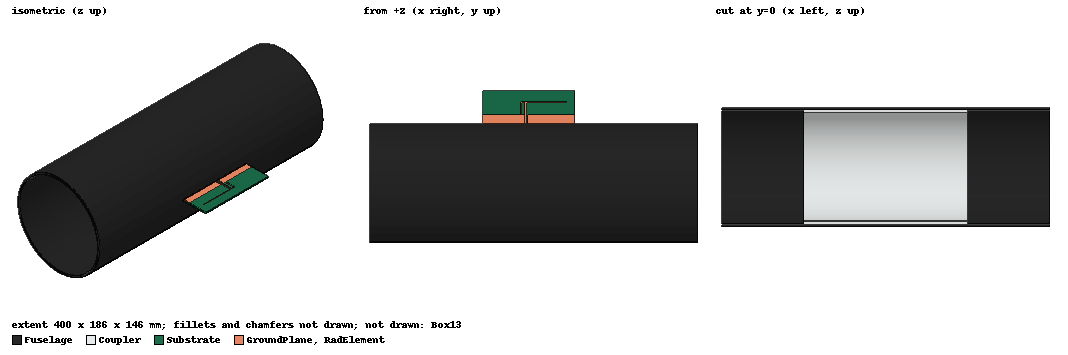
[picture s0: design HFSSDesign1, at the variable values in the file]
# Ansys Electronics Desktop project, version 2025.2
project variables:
  $Radius = 73mm  # optimise 36.5mm..109.5mm
  $StubLen = 15mm  # optimise 7.5mm..22.5mm
  $RadLen = 56mm  # optimise 27.5mm..82.5mm
  $FeedGap = 5.5mm  # optimise 2.5mm..7.5mm
  $PlaneWidth = 10mm  # optimise 5mm..15mm
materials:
  vacuum: permittivity=1
  copper: permeability=0.999991 conductivity=58000000
  air: permittivity=1.0006 permeability=1.0000004
  graphite: conductivity=70000
  FR4_epoxy: permittivity=4.4 dielectric_loss_tangent=0.02
  cast_iron: permeability=60 conductivity=1500000
  CF - Carbon fiber: conductivity=252.337
  aluminum: permeability=1.000021 conductivity=38000000

design HFSSDesign1 (HFSS, HFSS Terminal Network, model units mm)
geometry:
  Substrate [FR4_epoxy] = box(corner=(50mm, $Radius, 0.8mm), size=((-4.5*25) mm, 40mm, -1.6mm))
  Fuselage [CF - Carbon fiber] = cylinder(axis=X, base_centre=(-200mm, 0mm, 0mm), radius=73mm, height=400mm, segments=32)
  Cylinder3 = cylinder(axis=X, base_centre=(200mm, 0mm, 0mm), radius=70mm, height=-400mm)
  Fuselage.subtract(Cylinder3)
  Box13 [air] = box(corner=(-250mm, 200mm, 100mm), size=(500mm, -400mm, -200mm))
  Coupler [aluminum] = cylinder(axis=X, base_centre=(-100mm, 0mm, 0mm), radius=70mm, height=200mm, segments=32)
  Cylinder5 = cylinder(axis=X, base_centre=(100mm, 0mm, 0mm), radius=66.5mm, height=-200mm)
  Coupler.subtract(Cylinder5)
  Substrate.chamfer(Edges=Substrate.edge(at (-62.5, 113, 0)) LeftDistance=40mm RightDistance="(2.25*25) mm" ChamferType="Left Distance-Right Distance" ChamferAdditionalGeometryInfo{ChamferEdgeGeometryInfo{ChamferEdgeID=1342 ChamferEdgeSense ChamferEdgeStart{X=-62.5mm Y=113mm Z=0.8mm} ChamferEdgeEnd{X=-62.5mm Y=113mm Z=-0.8mm} ChamferEdgeMid{X=-62.5mm Y=113mm Z=0mm} ChamferEdgeMidTangent(0, 0, -1)}})
  Substrate.chamfer(Edges=Substrate.edge(at (50, 113, 0)) LeftDistance=6.25mm RightDistance=40mm ChamferType="Left Distance-Right Distance" ChamferAdditionalGeometryInfo{ChamferEdgeGeometryInfo{ChamferEdgeID=1343 ChamferEdgeSense ChamferEdgeStart{X=50mm Y=113mm Z=0.8mm} ChamferEdgeEnd{X=50mm Y=113mm Z=-0.8mm} ChamferEdgeMid{X=50mm Y=113mm Z=0mm} ChamferEdgeMidTangent(0, 0, -1)}})
  TopGround = box(corner=(-62.5mm, $Radius, 0.8mm), size=((4.5*25) mm, $PlaneWidth, 0.035mm))
  TopGround.chamfer(Edges=GroundPlane.edge(at (-62.5, 83, 0.8175)) LeftDistance=55deg RightDistance=$PlaneWidth ChamferType="Right Distance-Angle" ChamferAdditionalGeometryInfo{ChamferEdgeGeometryInfo{ChamferEdgeID=2238 ChamferEdgeSense ChamferEdgeStart{X=-62.5mm Y=83mm Z=0.8mm} ChamferEdgeEnd{X=-62.5mm Y=83mm Z=0.835mm} ChamferEdgeMid{X=-62.5mm Y=83mm Z=0.8175mm} ChamferEdgeMidTangent(0, 0, 1)}})
  TopGround.chamfer(Edges=GroundPlane.edge(at (50, 83, 0.8175)) LeftDistance=$PlaneWidth RightDistance=10deg ChamferType="Left Distance-Angle" ChamferAdditionalGeometryInfo{ChamferEdgeGeometryInfo{ChamferEdgeID=2239 ChamferEdgeSense ChamferEdgeStart{X=50mm Y=83mm Z=0.8mm} ChamferEdgeEnd{X=50mm Y=83mm Z=0.835mm} ChamferEdgeMid{X=50mm Y=83mm Z=0.8175mm} ChamferEdgeMidTangent(0, 0, 1)}})
  coordinate_system RelativeCS1 = origin=(-16mm, $Radius+$PlaneWidth, 0.8mm) x=(1mm, 0mm, 0mm) y=(0mm, 1mm, 0mm)
  Box15 = box(corner=(0mm, 0mm, 0mm), size=(1mm, $StubLen, 0.035mm)) in RelativeCS1
  Box16 = box(corner=($FeedGap, $StubLen, 0mm), size=(2mm, -($StubLen+$PlaneWidth), 0.035mm)) in RelativeCS1
  RadElement [copper] = box(corner=(0mm, $StubLen, 0mm), size=($RadLen, 1mm, 0.035mm)) in RelativeCS1
  RadElement.unite(Box16, Box15)
  StripCutTool = box(corner=(4.5mm, 0mm, 0mm), size=(4mm, -10mm, 0.035mm)) in RelativeCS1
  BottomGround = box(corner=(-62.5mm, $Radius, -0.835mm), size=((4.5*25) mm, $PlaneWidth, 0.035mm))
  BottomGround.chamfer(Edges=GroundPlane.edge(at (-62.5, 83, -0.8175)) LeftDistance=55deg RightDistance=$PlaneWidth ChamferType="Right Distance-Angle" ChamferAdditionalGeometryInfo{ChamferEdgeGeometryInfo{ChamferEdgeID=2539 ChamferEdgeSense ChamferEdgeStart{X=-62.5mm Y=83mm Z=-0.835mm} ChamferEdgeEnd{X=-62.5mm Y=83mm Z=-0.8mm} ChamferEdgeMid{X=-62.5mm Y=83mm Z=-0.8175mm} ChamferEdgeMidTangent(0, 0, 1)}})
  BottomGround.chamfer(Edges=GroundPlane.edge(at (50, 83, -0.8175)) LeftDistance=$PlaneWidth RightDistance=10deg ChamferType="Left Distance-Angle" ChamferAdditionalGeometryInfo{ChamferEdgeGeometryInfo{ChamferEdgeID=2540 ChamferEdgeSense ChamferEdgeStart{X=50mm Y=83mm Z=-0.835mm} ChamferEdgeEnd{X=50mm Y=83mm Z=-0.8mm} ChamferEdgeMid{X=50mm Y=83mm Z=-0.8175mm} ChamferEdgeMidTangent(0, 0, 1)}})
  TopGround.subtract(StripCutTool)
  Rectangle2 = rectangle(corner=(5.5mm, -10mm, 0.035mm), z_size=-1.67mm, x_size=2mm) in RelativeCS1
  ViaPrototype [vacuum, non-model] = cylinder(axis=Z, base_centre=(0mm, 0mm, 0mm), radius=0.3mm, height=1.67mm)
  Cylinder7 = cylinder(axis=Z, base_centre=(0mm, 0mm, 0mm), radius=(0.3-0.035) mm, height=1.67mm)
  ViaPrototype.subtract(Cylinder7)
  ViaCutToolLeft = cylinder(axis=Z, base_centre=(-12mm, 82.5mm, -0.835mm), radius=0.3mm, height=1.67mm)
  ViaCutTool_1..ViaCutTool_9 = ViaCutToolLeft.duplicate_along_line(step=(0mm, -0.975mm, 0mm), total=10)
  ViaCutToolLeft.unite(ViaCutTool_1..ViaCutTool_9)
  ViaCutToolRight = cylinder(axis=Z, base_centre=(-7mm, 82.5mm, -0.835mm), radius=0.3mm, height=1.67mm)
  ViaCutTool_10..ViaCutTool_18 = ViaCutToolRight.duplicate_along_line(step=(0mm, -0.975mm, 0mm), total=10)
  ViaCutToolRight.unite(ViaCutTool_10..ViaCutTool_18)
  ViaCutToolLeft_1 = ViaCutToolLeft.copy()
  ViaCutToolRight_1 = ViaCutToolRight.copy()
  BottomGround.subtract(ViaCutToolLeft_1, ViaCutToolRight_1)
  ViaCutToolLeft_2 = ViaCutToolLeft.copy()
  ViaCutToolRight_2 = ViaCutToolRight.copy()
  Substrate.subtract(ViaCutToolLeft_2, ViaCutToolRight_2)
  TopGround.subtract(ViaCutToolLeft, ViaCutToolRight)
  ViaLeft = cylinder(axis=Z, base_centre=(-12mm, 82.5mm, -0.835mm), radius=0.3mm, height=1.67mm)
  Cylinder8 = cylinder(axis=Z, base_centre=(-12mm, 82.5mm, -0.835mm), radius=(0.3-0.035) mm, height=1.67mm)
  ViaLeft.subtract(Cylinder8)
  ViaLeft_1..ViaLeft_8, ViaFenceLeft = ViaLeft.duplicate_along_line(step=(0mm, -0.975mm, 0mm), total=10)
  ViaFenceLeft.unite(ViaLeft, ViaLeft_1..ViaLeft_8)
  ViaLeft1 = cylinder(axis=Z, base_centre=(-7mm, 82.5mm, -0.835mm), radius=0.3mm, height=1.67mm)
  Cylinder9 = cylinder(axis=Z, base_centre=(-7mm, 82.5mm, -0.835mm), radius=(0.3-0.035) mm, height=1.67mm)
  ViaLeft1.subtract(Cylinder9)
  GroundPlane [copper], ViaLeft_9..ViaLeft_16 = ViaLeft1.duplicate_along_line(step=(0mm, -0.975mm, 0mm), total=10)
  GroundPlane.unite(ViaLeft1, ViaLeft_9..ViaLeft_16)
  GroundPlane.unite(ViaFenceLeft, TopGround, BottomGround)
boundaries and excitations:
  Rad1: Radiation Objects=Box13
  RadElement_T1: Terminal port=1 Faces=RadElement.face(at (-9.5, 73, 0.8175)) TerminalResistance=50ohm
  1: Lumped Port Faces=Rectangle2.face LumpedPortType=Terminal Impedance=50ohm
  reference conductors: BottomGround
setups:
  Setup1: HfssDriven Frequency=915MHz MaxDeltaS=0.02 MaximumPasses=10 MinimumPasses=1 MinimumConvergedPasses=1 PercentRefinement=30 BasisOrder=1 PortAccuracy=2 DrivenSolverType="Direct Solver"
    sweep Sweep: 500MHz to 1200MHz, 200 points; Type=Interpolating InterpTolerance=0.5 InterpMaxSolns=250 PassivityErrorTolerance=0.0001
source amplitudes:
  1:1: 1V 0deg
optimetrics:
  OptimizationSetup1: Optimization disabled Optimizer="kDX ASO" AnalysisStopOptions{StopForNumIteration MaxNumIteration=20 MinNumIteration=10} CostFuncNormType=L2 Acceptable_Cost=0 Noise=0.0001 UpdateDesignWhenDone
    vary $FeedGap: Min=1mm Max=10mm MinStep=0.05mm MaxStep=0.5mm MinFocus=2.5mm MaxFocus=7.5mm start=5mm
    goal VSWRt(Box17_T1) Minimize 0 weight 1 on Setup1 : LastAdaptive at Freq 0.5GHz to 1.2GHz
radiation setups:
  Infinite Sphere1: Infinite Sphere Theta=0deg..180deg step 2deg Phi=-180deg..180deg step 2deg
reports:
  Gain Plot1: dB(GainTotal) vs Phi, Theta on Setup1 : LastAdaptive, Infinite Sphere1 [Freq=0.915GHz]
